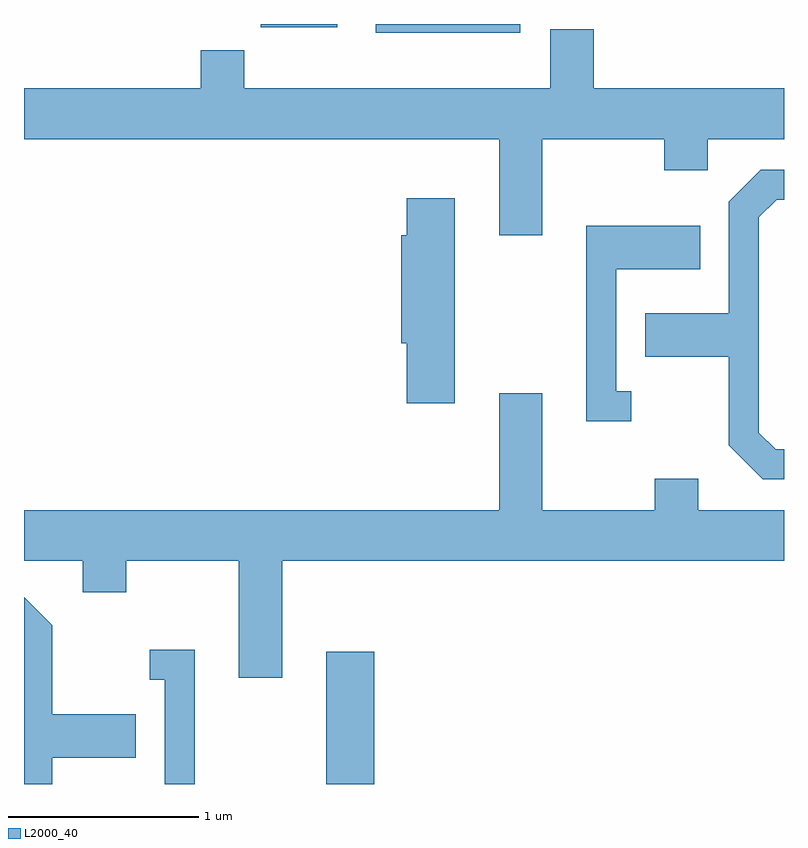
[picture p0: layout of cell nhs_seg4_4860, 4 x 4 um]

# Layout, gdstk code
import gdstk
lib = gdstk.Library(unit=1e-6, precision=1e-09)
def R(c, l, rs):  # rectangles x0, y0, x1, y1
    for r in rs: c.add(gdstk.rectangle(r[:2], r[2:], *l))
def P(c, l, *ps):  # polygons
    for p in ps: c.add(gdstk.Polygon(p, *l))
L2000_40 = (2000, 40)

nhs_seg4_4860 = lib.new_cell('nhs_seg4_4860')
R(nhs_seg4_4860, L2000_40, [(329.201,1317.982,329.454,1318.679), (329.461,1321.936,330.224,1321.982), (328.856,1321.966,329.259,1321.982)])
P(nhs_seg4_4860, L2000_40, [(330.339,1321.376),(330.981,1321.376),(330.981,1321.211),(331.209,1321.211),(331.209,1321.376),(331.611,1321.376),(331.611,1321.644),(330.609,1321.644),(330.609,1321.954),(330.381,1321.954),(330.381,1321.644),(328.769,1321.644),(328.769,1321.844),(328.541,1321.844),(328.541,1321.644),(327.611,1321.644),(327.611,1321.376),(330.111,1321.376),(330.111,1320.871),(330.339,1320.871)],
  [(331.611,1319.744),(331.567,1319.744),(331.479,1319.832),(331.479,1320.964),(331.572,1321.056),(331.611,1321.056),(331.611,1321.214),(331.489,1321.214),(331.321,1321.047),(331.321,1320.459),(330.881,1320.459),(330.881,1320.231),(331.321,1320.231),(331.321,1319.764),(331.499,1319.586),(331.611,1319.586)],
  [(329.879,1321.064),(329.626,1321.064),(329.626,1320.869),(329.596,1320.869),(329.596,1320.301),(329.626,1320.301),(329.626,1319.986),(329.879,1319.986)],
  [(330.808,1320.049),(330.729,1320.049),(330.729,1320.691),(331.169,1320.691),(331.169,1320.919),(330.571,1320.919),(330.571,1319.891),(330.808,1319.891)],
  [(327.611,1319.156),(327.921,1319.156),(327.921,1318.991),(328.149,1318.991),(328.149,1319.156),(328.741,1319.156),(328.741,1318.541),(328.969,1318.541),(328.969,1319.156),(331.611,1319.156),(331.611,1319.424),(331.159,1319.424),(331.159,1319.589),(330.931,1319.589),(330.931,1319.424),(330.339,1319.424),(330.339,1320.039),(330.111,1320.039),(330.111,1319.424),(327.611,1319.424)],
  [(327.759,1318.121),(328.199,1318.121),(328.199,1318.349),(327.759,1318.349),(327.759,1318.817),(327.611,1318.965),(327.611,1317.982),(327.759,1317.982)],
  [(328.509,1318.689),(328.273,1318.689),(328.273,1318.531),(328.351,1318.531),(328.351,1317.982),(328.509,1317.982)])

lib.write_gds('nhs_seg4_4860.gds')
